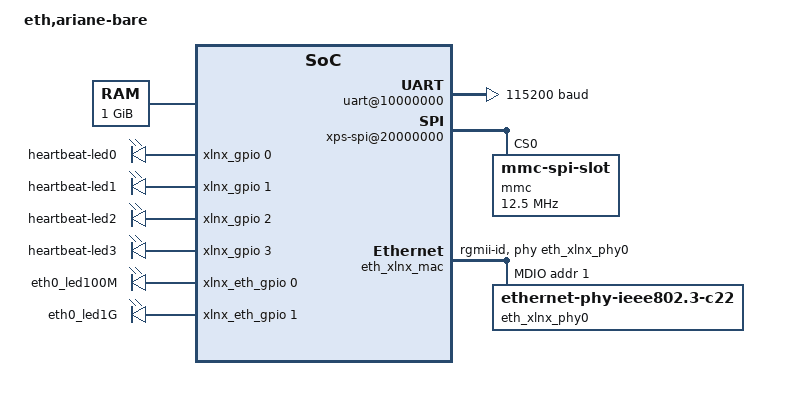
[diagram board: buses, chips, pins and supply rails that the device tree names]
/dts-v1/;

#include <dt-bindings/gpio/gpio.h>

/ {
  #address-cells = <2>;
  #size-cells = <2>;
  compatible = "eth,ariane-bare-dev";
  model = "eth,ariane-bare";
  chosen {
    stdout-path = "/soc/uart@10000000:115200";
    //tick-timer =  "/cpus/cpu@0";
  };
  cpus {
    #address-cells = <1>;
    #size-cells = <0>;
    timebase-frequency = <25000000>; // 25 MHz
    CPU0: cpu@0 {
      clock-frequency = <50000000>; // 50 MHz
      device_type = "cpu";
      reg = <0>;
      status = "okay";
      compatible = "eth, ariane", "riscv";
      riscv,isa = "rv64imafdch";
      mmu-type = "riscv,sv39";
      tlb-split;
      // HLIC - hart local interrupt controller
      CPU0_intc: interrupt-controller {
        #interrupt-cells = <1>;
        interrupt-controller;
        compatible = "riscv,cpu-intc";
      };
    };
  };
  memory@80000000 {
    device_type = "memory";
    reg = <0x0 0x80000000 0x0 0x40000000>;
  };
  leds {
    compatible = "gpio-leds";
    heartbeat-led0 {
      gpios = <&xlnx_gpio 0 GPIO_ACTIVE_HIGH>;
      linux,default-trigger = "heartbeat";
      retain-state-suspended;
    };
    heartbeat-led1 {
      gpios = <&xlnx_gpio 1 GPIO_ACTIVE_HIGH>;
      linux,default-trigger = "heartbeat";
      retain-state-suspended;
    };
    heartbeat-led2 {
      gpios = <&xlnx_gpio 2 GPIO_ACTIVE_HIGH>;
      linux,default-trigger = "heartbeat";
      retain-state-suspended;
    };
    heartbeat-led3 {
      gpios = <&xlnx_gpio 3 GPIO_ACTIVE_HIGH>;
      linux,default-trigger = "heartbeat";
      retain-state-suspended;
    };
    eth0_led100M {
      gpios = <&xlnx_eth_gpio 0 GPIO_ACTIVE_HIGH>;
      default-state = "off";
      linux,default-trigger = "axienet-40c00000:01:100Mbps";
    };
    eth0_led1G {
      gpios = <&xlnx_eth_gpio 1 GPIO_ACTIVE_HIGH>;
      default-state = "off";
      linux,default-trigger = "axienet-40c00000:01:1Gbps";
    };
  };
  L26: soc {
    #address-cells = <2>;
    #size-cells = <2>;
    compatible = "eth,ariane-bare-soc", "simple-bus";
    ranges;
    clint@2000000 {
      compatible = "riscv,clint0";
      interrupts-extended = <&CPU0_intc 3 &CPU0_intc 7>;
      reg = <0x0 0x2000000 0x0 0xc0000>;
      reg-names = "control";
    };
    PLIC0: interrupt-controller@c000000 {
      #address-cells = <0>;
      #interrupt-cells = <1>;
      compatible = "riscv,plic0";
      interrupt-controller;
      interrupts-extended = <&CPU0_intc 11 &CPU0_intc 9>;
      reg = <0x0 0xc000000 0x0 0x4000000>;
      riscv,max-priority = <7>;
      riscv,ndev = <30>;
    };
    // Specifying the interrupt controller in the devicetree is not necessary.
    // Furthermore, the IRQ 65535 will cause a `hwirq 0xffff is too large` during
    // Linux boot (occured with mainline linux 5.14.0).
    //  debug-controller@0 {
    //    compatible = "riscv,debug-013";
    //    interrupts-extended = <&CPU0_intc 65535>;
    //    reg = <0x0 0x0 0x0 0x1000>;
    //    reg-names = "control";
    //  };
    uart@10000000 {
      compatible = "ns16550";
      reg = <0x0 0x10000000 0x0 0x1000>;
      clock-frequency = <50000000>;
      current-speed = <115200>;
      interrupt-parent = <&PLIC0>;
      interrupts = <1>;
      reg-shift = <2>; // regs are spaced on 32 bit boundary
      reg-io-width = <4>; // only 32-bit access are supported
    };
    timer@18000000 {
      compatible = "pulp,apb_timer";
      interrupts = <0x00000004 0x00000005 0x00000006 0x00000007>;
      reg = <0x00000000 0x18000000 0x00000000 0x00001000>;
      interrupt-parent = <&PLIC0>;
      reg-names = "control";
    };
    xps-spi@20000000 {
      compatible = "xlnx,xps-spi-2.00.b", "xlnx,xps-spi-2.00.a";
      #address-cells = <1>;
      #size-cells = <0>;
      interrupt-parent = <&PLIC0>;
      interrupts = < 2 2 >;
      reg = < 0x0 0x20000000 0x0 0x1000 >;
      xlnx,family = "zynq7";
      xlnx,fifo-exist = <0x1>;
      xlnx,num-ss-bits = <0x1>;
      xlnx,num-transfer-bits = <0x8>;
      xlnx,sck-ratio = <0x4>;

      mmc@0 {
        compatible = "mmc-spi-slot";
        reg = <0>;
        spi-max-frequency = <12500000>;
        voltage-ranges = <3300 3300>;
        disable-wp;
      };
      // mmc-slot@0 {
      //   compatible = "fsl,mpc8323rdb-mmc-slot", "mmc-spi-slot";
      //   reg = <0>;  //Chip select 0
      //   spi-max-frequency = <12500000>;
      //   voltage-ranges = <3300 3300>;
      //   //interrupts = < 2 2 >;
      //   //interrupt-parent = <&PLIC0>;
      // };
    };
    eth_xlnx_dma: dma@41e00000 {
        #dma-cells = <1>;
        axistream-connected = <&eth_xlnx_mac>;
        axistream-control-connected = <&eth_xlnx_mac>;
        clock-frequency = <50000000>;
        compatible = "xlnx,eth-dma";
        reg = <0x0 0x41e00000 0x0 0x10000>;
        xlnx,addrwidth = <0x40>;
        xlnx,include-dre;
        xlnx,num-queues = <0x1>;
        interrupt-parent = <&PLIC0>;
        // TX - RX
        interrupts = <8 9>;
    };
    eth_xlnx_mac: ethernet0@40c00000 {
        compatible = "xlnx,axi-ethernet-7.2", "xlnx,axi-ethernet-1.00.a";
        interrupts = <3>;
        clock-frequency = <50000000>;
        phy-mode = "rgmii-id";
        xlnx,rxcsum = <0x2>;
        xlnx,rxmem = <0x1000>;
        phy-handle=<&eth_xlnx_phy0>;
        local-mac-address = [00 18 3e 02 e3 7f];
        axistream-connected = <&eth_xlnx_dma>;
        axistream-control-connected = <&eth_xlnx_dma>;
        device_type = "network";
        reg = <0x0 0x40c00000 0x0 0x40000>;
        xlnx = <0x0>;
        xlnx,txcsum = <0x2>;
        xlnx,axiliteclkrate = <0x0>;
        xlnx,axisclkrate = <0x0>;
        xlnx,channel-ids = "1";
        xlnx,clockselection = <0x0>;
        xlnx,enableasyncsgmii = <0x0>;
        xlnx,gt-type = <0x0>;
        xlnx,gtinex = <0x0>;
        xlnx,gtlocation = <0x0>;
        xlnx,gtrefclksrc = <0x0>;
        xlnx,include-dre;
        xlnx,instantiatebitslice0 = <0x0>;
        xlnx,num-queues =  <0x1>;
        xlnx,phyaddr = <0x0>;
        xlnx,phyrst-board-interface-dummy-port = <0x0>;
        xlnx,rable = <0x0>;
        xlnx,rxlane0-placement = <0x0>;
        xlnx,rxlane1-placement = <0x0>;
        xlnx,rxnibblebitslice0used = <0x0>;
        xlnx,tx-in-upper-nibble = <0x1>;
        xlnx,txlane0-placement = <0x0>;
        xlnx,txlane1-placement = <0x0>;
        xlnx,versal-gt-board-flow = <0x0>;
        interrupt-parent = <&PLIC0>;
        mdio {
            #address-cells = <1>;
            #size-cells = <0>;
            eth_xlnx_phy0: ethernet-phy@1 {
                compatible = "ethernet-phy-ieee802.3-c22";
                device-type = "ethernet-phy";
                adi,rx-internal-delay-ps = <2000>;
                adi,tx-internal-delay-ps = <2000>;
                reg = <0x1>;
            };
        };
    };
    xlnx_gpio: gpio@40000000 {
      #gpio-cells = <2>;
      compatible = "xlnx,xps-gpio-1.00.a";
      gpio-controller;
      reg = <0x0 0x40000000 0x0 0x10000>;
      xlnx,all-inputs = <0x0>;
      xlnx,all-outputs = <0x1>;
      xlnx,dout-default = <0x0>;
      xlnx,gpio-width = <0x4>;
      xlnx,interrupt-present = <0x0>;
      xlnx,is-dual = <0x0>;
      xlnx,tri-default = <0xffffffff>;
    };
    xlnx_eth_gpio: gpio@40010000 {
      #gpio-cells = <2>;
      compatible = "xlnx,xps-gpio-1.00.a";
      gpio-controller;
      reg = <0x0 0x40010000 0x0 0x10000>;
      xlnx,all-inputs = <0x0>;
      xlnx,all-outputs = <0x1>;
      xlnx,dout-default = <0x0>;
      xlnx,gpio-width = <0x2>;
      xlnx,interrupt-present = <0x0>;
      xlnx,is-dual = <0x0>;
      xlnx,tri-default = <0xffffffff>;
    };
  };
};
